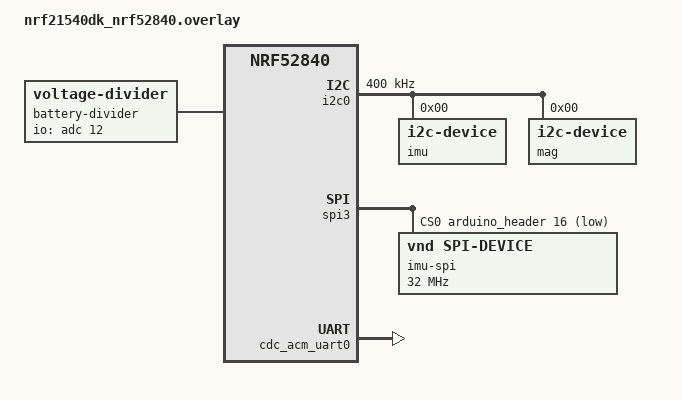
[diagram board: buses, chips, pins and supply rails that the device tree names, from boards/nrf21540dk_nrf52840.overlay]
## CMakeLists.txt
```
#
# Copyright (c) 2023 Nordic Semiconductor
#
# SPDX-License-Identifier: LicenseRef-Nordic-5-Clause
#
cmake_minimum_required(VERSION 3.20.0)

# Configure VERSION from repository branch and tag
find_package(Git)

if(GIT_EXECUTABLE)
  execute_process(
    COMMAND ${GIT_EXECUTABLE} branch --show-current
    WORKING_DIRECTORY ${CMAKE_SOURCE_DIR}
    OUTPUT_VARIABLE GIT_BRANCH
    )
  execute_process(
    COMMAND ${GIT_EXECUTABLE} describe --dirty --tags --long --match [0-9]*.[0-9]*.[0-9]*
    WORKING_DIRECTORY ${CMAKE_SOURCE_DIR}
    OUTPUT_VARIABLE GIT_VERSION
    )
  # Prefer a https URL for display (falls back to ssh/origin.url)
  execute_process(
    COMMAND ${GIT_EXECUTABLE} config --get remote.origin.url
    WORKING_DIRECTORY ${CMAKE_SOURCE_DIR}
    OUTPUT_VARIABLE GIT_REPO_URL_SSH
    )
  execute_process(
    COMMAND ${GIT_EXECUTABLE} config --get remote.origin.https.url
    WORKING_DIRECTORY ${CMAKE_SOURCE_DIR}
    OUTPUT_VARIABLE GIT_REPO_URL_HTTPS
    )
  execute_process(
    COMMAND ${GIT_EXECUTABLE} log -1 --pretty=%an
    WORKING_DIRECTORY ${CMAKE_SOURCE_DIR}
    OUTPUT_VARIABLE GIT_AUTHOR
    )
endif()

if(GIT_BRANCH STREQUAL "")
  set(GIT_BRANCH unknown)
  message(WARNING "Unknown Git Branch")
endif()

if(GIT_VERSION STREQUAL "")
  # No git metadata in this checkout: report the Styria release version.
  set(GIT_VERSION 0.18.0-25)
  message(WARNING "Unknown Tag/Version, using Styria release 0.18.0-25")
endif()

# Choose URL: origin.https.url > origin.url
if(NOT GIT_REPO_URL_HTTPS STREQUAL "")
  set(GIT_REPO_URL ${GIT_REPO_URL_HTTPS})
else()
  set(GIT_REPO_URL ${GIT_REPO_URL_SSH})
endif()

# Normalize GitHub SSH URLs to HTTPS for display in firmware info
if(GIT_REPO_URL MATCHES "^git@github\\.com:(.+)$")
  set(GIT_REPO_URL "https://github.com/${CMAKE_MATCH_1}")
elseif(GIT_REPO_URL MATCHES "^ssh://git@github\\.com/(.+)$")
  set(GIT_REPO_URL "https://github.com/${CMAKE_MATCH_1}")
endif()
string(REGEX REPLACE "\\.git$" "" GIT_REPO_URL "${GIT_REPO_URL}")

if(GIT_REPO_URL STREQUAL "")
  set(GIT_REPO_URL unknown)
  message(WARNING "Unknown Git Repo URL")
endif()

if(GIT_AUTHOR STREQUAL "")
  set(GIT_AUTHOR unknown)
  message(WARNING "Unknown Git Author")
endif()

include(${CMAKE_CURRENT_SOURCE_DIR}/cmake/display_metadata.cmake)
sanitize_display_metadata()
string(STRIP "${GIT_VERSION}" GIT_VERSION)

string(REPLACE "-" ";" GIT_VERSION ${GIT_VERSION})
list(GET GIT_VERSION 0 GIT_RELEASE)
list(GET GIT_VERSION 1 GIT_TWEAK)
string(REPLACE "v" "" GIT_RELEASE ${GIT_RELEASE})
string(REPLACE "." ";" GIT_RELEASE ${GIT_RELEASE})
list(GET GIT_RELEASE 0 GIT_MAJOR)
list(GET GIT_RELEASE 1 GIT_MINOR)
list(GET GIT_RELEASE 2 GIT_PATCH)

configure_file(${CMAKE_SOURCE_DIR}/VERSION_SRC ${CMAKE_SOURCE_DIR}/VERSION @ONLY)

# Pass metadata to C compilation units
add_compile_definitions(
  FW_GIT_BRANCH="${GIT_BRANCH}"
  FW_GIT_REPO_URL="${GIT_REPO_URL}"
  FW_GIT_AUTHOR="${GIT_AUTHOR}"
)

# Zephyr
find_package(Zephyr REQUIRED HINTS $ENV{ZEPHYR_BASE})
project(NONE)

# Reviewed integration builds carry an explicit variant in the generated
# application identity without changing Git tags or the numeric image version.
if(DEFINED ARC8_BUILD_ID)
  if(NOT ARC8_BUILD_ID MATCHES "^[a-zA-Z0-9_-]+$")
    message(FATAL_ERROR "Invalid ARC8_BUILD_ID")
  endif()
  target_compile_definitions(app PRIVATE ARC8_BUILD_ID=${ARC8_BUILD_ID})
endif()

find_package(Python3 QUIET COMPONENTS Interpreter)

if(NOT Python3_Interpreter_FOUND)
  find_program(PYTHON_EXECUTABLE NAMES python3 python REQUIRED)
  set(Python3_EXECUTABLE ${PYTHON_EXECUTABLE})
endif()

set(SOFTDEVICE_HEX_52840 ${CMAKE_SOURCE_DIR}/softdevice/s140_nrf52_7.3.0_softdevice.hex)
set(UF2_FAMILY_ID_52840 0xADA52840)

if(WITH_SOFTDEVICE)
  if(CONFIG_SOC_NRF52840)
    set(sd_softdevice_hex ${SOFTDEVICE_HEX_52840})
    set(sd_uf2_family_id ${UF2_FAMILY_ID_52840})
  else()
    message(FATAL_ERROR "WITH_SOFTDEVICE is currently only supported on nRF52840 targets")
  endif()

  if(DEFINED sd_softdevice_hex)
    if(NOT EXISTS ${sd_softdevice_hex})
      message(FATAL_ERROR "SoftDevice hex not found: ${sd_softdevice_hex}")
    endif()

    set(sd_merged_hex ${CMAKE_BINARY_DIR}/zephyr/zephyr_sd.hex)
    set(sd_merged_uf2 ${CMAKE_BINARY_DIR}/zephyr/zephyr_sd.uf2)

    add_custom_command(
      OUTPUT ${sd_merged_hex} ${sd_merged_uf2}
      COMMAND ${Python3_EXECUTABLE} ${ZEPHYR_BASE}/scripts/build/mergehex.py --overlap=replace -o ${sd_merged_hex} ${sd_softdevice_hex} ${CMAKE_BINARY_DIR}/zephyr/zephyr.hex
      COMMAND ${Python3_EXECUTABLE} ${ZEPHYR_BASE}/scripts/build/uf2conv.py ${sd_merged_hex} -c -f ${sd_uf2_family_id} -o ${sd_merged_uf2}
      DEPENDS ${sd_softdevice_hex} ${CMAKE_BINARY_DIR}/zephyr/zephyr.hex
      VERBATIM
    )

    add_custom_target(sd_merged_uf2 ALL DEPENDS ${sd_merged_hex} ${sd_merged_uf2})
  endif()
endif()

# NORDIC SDK APP START
FILE(GLOB_RECURSE app_sources CONFIGURE_DEPENDS src/*.c)
target_sources(app PRIVATE ${app_sources})

# NORDIC SDK APP END

FILE(GLOB_RECURSE files Fusion/Fusion/*.c)
target_sources(app PRIVATE ${files})

FILE(GLOB_RECURSE files vqf-c/src/*.c)
target_sources(app PRIVATE ${files})

target_include_directories(app PRIVATE src)
target_include_directories(app PRIVATE Fusion/Fusion)
target_include_directories(app PRIVATE vqf-c/src)

# Force recompile for updated build timestamp
add_custom_target(touch_util_h ALL
    COMMAND ${CMAKE_COMMAND} -E touch ${CMAKE_SOURCE_DIR}/src/build_defines.h
)

# The host default and firmware option must select the same state representation.
if(CONFIG_VQF_STABLE_IIR)
  target_compile_definitions(app PRIVATE VQF_STABLE_IIR=1)
else()
  target_compile_definitions(app PRIVATE VQF_STABLE_IIR=0)
endif()
```

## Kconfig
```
#
# Copyright (c) 2023 Nordic Semiconductor
#
# SPDX-License-Identifier: LicenseRef-Nordic-5-Clause
#

config USE_SLIMENRF_CONSOLE
    bool "Use basic console"
    default y
    help
        Use basic console for commands.

choice
	prompt "Battery voltage mapping"
    default BATTERY_USE_REG_LDO_MAPPING

config BATTERY_USE_REG_BUCK_MAPPING
    bool "Use buck regulator mapping (3.7V battery, DCDC)"
    help
      Use a constant power mapping for battery voltage.
      Preffered for systems with a buck regulator.
      Measured at a system voltage of 3.0V.

config BATTERY_USE_REG_LDO_MAPPING
    bool "Use LDO linear regulator mapping (3.7V battery, LDO)"
    help
      Use a constant current mapping for battery voltage.
      Preferred for systems with a linear regulator.

config BATTERY_NO_MAPPING
    bool "Disable battery voltage mapping"
    help
      Always map to 100% battery. Disables battery monitoring.

endchoice

choice
	prompt "Status LED color mapping"
    default LED_TRI_COLOR

config LED_RGB_COLOR
    bool "Use RGB color mapping"
    help
        Use RGB or RG color mapping for LED status if available.

config LED_TRI_COLOR
    bool "Use default color mapping"
    help
        Use the default color mapping for LED status.

endchoice

menu "Status LED default status color"
    depends on LED_RGB_COLOR

config LED_DEFAULT_COLOR_R
    int "Red value"
    range 0 10000
    default 4000
    depends on LED_RGB_COLOR
    help
        Red color for default status.
        Valid range is 0 to 10000.

config LED_DEFAULT_COLOR_G
    int "Green value"
    range 0 10000
    default 6000
    depends on LED_RGB_COLOR
    help
        Green color for default status.
        Valid range is 0 to 10000.

config LED_DEFAULT_COLOR_B
    int "Blue value"
    range 0 10000
    default 0
    depends on LED_RGB_COLOR
    help
        Blue color for default status.
        Valid range is 0 to 10000.

endmenu

config USER_EXTRA_ACTIONS
    bool "Multiple press actions"
    help
        Allow user to use multiple presses to calibrate, pair, or enter DFU.
        By default, pairing is available when holding down sw0 for 5 seconds.
        By default, DFU is available when holding down sw0 and plugging in a USB cable.

config IGNORE_RESET
    bool "Ignore reset"
    default y
    help
        If sw0 is available, don't perform any extra actions on reset.

config USER_SHUTDOWN
    bool "User shutdown support"
    default y
    help
        Allow user to use reset or sw0 to shutdown.

config IGNORE_CHARGE_WAKE_ON_VBUS
    bool "Ignore charge wake on VBUS"
    default n
    depends on USER_SHUTDOWN
    help
        When VBUS is present, do not configure charge status pins as wake
        sources during system shutdown. This keeps charge state transitions
        from waking the device while USB power is already connected.

config USE_IMU_WAKE_UP
    bool "IMU wake up support"
    default n
    help
        Use IMU wake up state if IMU wake up is present.

config DELAY_SLEEP_ON_STATUS
    bool "Delay IMU wake up mode on status flags"
    default y
    depends on USE_IMU_WAKE_UP
    help
        Delay IMU wake up state if there is an active status flag or in pairing mode.

config WOM_USE_DCDC
    bool "Use DCDC in IMU wake up mode"
    depends on USE_IMU_WAKE_UP
    help
        Use DCDC instead of LDO in IMU wake up state if it is more efficient.

config CONNECTION_TIMEOUT_DELAY
    int "Connection timeout delay (ms)"
    default 300000
    depends on USER_SHUTDOWN
    help
        Connection timeout duration when receiver is not detected.

menu "Sensor power saving"

config SENSOR_LP_TIMEOUT
    int "Sensor low power delay (ms)"
    default 500
    range 0 2147483647
    help
        Low power timeout during no motion. Set to 0 to keep the normal
        sensor sampling mode during prolonged stillness.

config SENSOR_USE_LOW_POWER_2
    bool "Use additional low power modes"
    help
        Use a higher latency sensor mode during no motion.

config USE_IMU_TIMEOUT
    bool "Use IMU wake up state"
    default y
    depends on USE_IMU_WAKE_UP
    help
        Use IMU wake up state during no motion.

config IMU_TIMEOUT_RAMP_MIN
    int "Sensor timeout minimum delay (ms)"
    default 5000
    depends on USE_IMU_TIMEOUT || SENSOR_USE_LOW_POWER_2
    help
        Minimum timeout during no motion. Initial period on wake up.

config IMU_TIMEOUT_RAMP_MAX
    int "Sensor timeout maximum delay (ms)"
    default 15000
    depends on USE_IMU_TIMEOUT || SENSOR_USE_LOW_POWER_2
    help
        Maximum timeout during no motion.

config USE_ACTIVE_TIMEOUT
    bool "Use activity timeout"
    default y
    depends on USE_IMU_WAKE_UP || USER_SHUTDOWN
    help
        Delay IMU wake up state or user shutdown during activity.

choice
    prompt "Activity timeout mode"
    default SLEEP_ON_ACTIVE_TIMEOUT
    depends on USE_ACTIVE_TIMEOUT

config SLEEP_ON_ACTIVE_TIMEOUT
    bool "IMU wake up"
    depends on USE_IMU_WAKE_UP
    help
        Use IMU wake up state when activity timeout elapses.

config SHUTDOWN_ON_ACTIVE_TIMEOUT
    bool "User shutdown"
    depends on USER_SHUTDOWN
    help
        Use user shutdown when activity timeout elapses.

endchoice

config ACTIVE_TIMEOUT_THRESHOLD
    int "Activity timeout threshold (ms)"
    default 15000
    depends on USE_ACTIVE_TIMEOUT
    help
        Trigger activity timeout after a certain threshold of activity.

config ACTIVE_TIMEOUT_DELAY
    int "Activity timeout delay (ms)"
    default 1800000
    depends on USE_ACTIVE_TIMEOUT
    help
        Activity timeout duration when triggered.

config DISABLE_SENSOR_GPIOS_ON_SHUTDOWN
    bool "Disable Sensor GPIOs on shutdown"
    default y
    help
        Disable all sensor related GPIOs when system shutdown.
        May reduce power consumption.

endmenu

config SENSOR_ACCEL_ODR
    int "Accelerometer output data rate (Hz)"
    default 100
    help
        Requested accelerometer output data rate. Actual rate will be raised to the nearest supported rate.
        A higher rate will increase the time to read and process sensor data.

config SENSOR_GYRO_ODR
    int "Gyrometer output data rate (Hz)"
    default 200
    help
        Requested gyrometer output data rate. Actual rate will be raised to the nearest supported rate.
        A higher rate will increase the time to read and process sensor data.
        A lower rate is recommended for IMUs with poor gyrometer rate noise density. (Ex. BMI270, LSM6DS3TR-C)

config SENSOR_GYRO_OVERSAMPLING
    int "Gyroscope oversampling factor"
    default 1
    range 1 16
    help
        Number of gyroscope samples to average before fusion.
        Set to 1 to disable oversampling.
        For example, set SENSOR_GYRO_ODR=1600 and SENSOR_GYRO_OVERSAMPLING=4
        to achieve effective 400Hz with noise reduction from 4x oversampling.
        The effective gyro rate for fusion will be ODR / oversampling factor.

config SENSOR_ACCEL_OVERSAMPLING
    int "Accelerometer oversampling factor"
    default 1
    range 1 16
    help
        Number of accelerometer samples to average before fusion.
        Set to 1 to disable oversampling.
        For example, set SENSOR_ACCEL_ODR=1000 and SENSOR_ACCEL_OVERSAMPLING=10
        to achieve effective 100Hz with noise reduction from 10x oversampling.
        The effective accel rate for fusion will be ODR / oversampling factor.

config SENSOR_ACCEL_FS
    int "Accelerometer full scale (g)"
    default 16
    help
        Requested accelerometer full scale. Actual scale will be raised to the nearest supported scale.
        A lower scale may improve noise performance, but is more likely to saturate.

config SENSOR_GYRO_FS
    int "Gyrometer full scale (dps)"
    default 4000
    help
        Requested gyrometer full scale. Actual scale will be raised to the nearest supported scale.
        A lower scale may improve noise performance, but is more likely to saturate.

config SENSOR_MAG_ODR
    int "Magnetometer ODR (Hz)"
    default 200
    help
        Requested magnetometer output data rate in Hz.
        Common values: 100, 200. Higher rates may not be supported by all sensors.

config SENSOR_MAG_FIXED_ODR
    bool "Use fixed magnetometer ODR"
    default y
    help
        If enabled, use a fixed magnetometer ODR instead of dynamic adjustment.
        This ensures VQF fusion receives consistent timing information.
        When disabled, ODR is dynamically adjusted based on gyroscope speed.

choice
	prompt "Sensor fusion"
    default SENSOR_USE_VQF
    help
        Select the sensor fusion method.

config SENSOR_USE_XIOFUSION
    bool "Use x-io Technologies Fusion"
    help
        Use x-io Technologies Fusion for sensor fusion.
        Based on Madgwick filter.

config SENSOR_USE_VQF
    bool "Use VQF"
    help
        Use VQF for sensor fusion.
        Based on Kalman filter.

endchoice

config VQF_STABLE_IIR
    bool "VQF stable Butterworth realization"
    default y
    depends on SENSOR_USE_VQF
    help
        Use integrator states to avoid single-precision DF2T DC error.
        Retained snapshots are versioned and incompatible with legacy filters.
        Disable only for a controlled comparison; adaptive tau stays off.

config VQF_ADAPTIVE_TAU_ACC
    bool "VQF adaptive tauAcc (experimental)"
    default n
    depends on SENSOR_USE_VQF
    help
        Enable adaptive tauAcc adjustment based on motion intensity.
        Uses a three-regime strategy (rest / gentle / aggressive) with
        smoothed transitions to avoid Butterworth LP filter transients.
        This feature is experimental and may affect heading stability.

config VQF_SOFT_MBE_GATE
    bool "VQF soft motion bias estimation gate (experimental)"
    default n
    depends on SENSOR_USE_VQF
    help
        Enable quasi-rest detection that reduces VQF bias process noise during
        long low-energy non-rest periods. This keeps motion bias estimation
        enabled, but makes bias changes much slower in breathing
        motion where motion bias estimation can otherwise overcompensate.
        This feature is experimental and may affect heading stability.

config SENSOR_USE_6_SIDE_CALIBRATION
    bool "Use 6-side calibration"
    default y
    depends on USE_SLIMENRF_CONSOLE
    help
        Use 6-side calibration for accelerometer.
        Calibration can be completed through the basic console.

config SENSOR_USE_SENS_CALIBRATION
    bool "Use gyro sensitivity calibration"
    default y
    depends on USE_SLIMENRF_CONSOLE
    help
        Use sensitivity calibration for gyroscope.
        Calibration can be completed by rotating the tracker specified number of times around all axis.
        Note any resulting yaw drift in degrees and enter these three observed values in the basic console.

config SENSOR_SENS_REV
    int "Number of rotations (rev)"
    default 2
    depends on SENSOR_USE_SENS_CALIBRATION
    help
       Number of rotations used in calculating sensitivity calibration.

config SENSOR_USE_TCAL
    bool "Enable temperature calibration (T-Cal)"
    default y
    help
        Enable temperature calibration (T-Cal) support.
        This controls whether the firmware collects/uses temperature-related
        calibration data to compensate gyroscope bias drift.

menu "Temperature Calibration Settings"
depends on SENSOR_USE_TCAL

config SENSOR_POLY_DEGREE
    int "Polynomial degree"
    default 3
    help
        The degree of the polynomial to fit (e.g., 3 for a cubic curve).

config SENSOR_POLY_TEMP_MIN
    int "Calibration minimum temperature (C)"
    default 10

config SENSOR_POLY_TEMP_MAX
    int "Calibration maximum temperature (C)"
    default 45

config SENSOR_POLY_STEPS_PER_DEGREE
    int "Calibration steps per degree C"
    default 2
    help
        Enter the number of calibration points to take per degree Celsius.
        For 0.2 C steps, enter 5.
        For 0.5 C steps, enter 2.
        For 1.0 C steps, enter 1.

config SENSOR_USE_BOOT_CALIBRATION
    bool "Enable automatic boot calibration"
    default n
    depends on SENSOR_USE_TCAL
    help
        Automatically perform boot calibration after device startup.
        When enabled, the device will measure gyroscope bias at boot time
        and calculate D_offset correction based on the temperature calibration
        curve. This helps compensate for run-to-run bias drift.
        Boot calibration occurs within 15-50 seconds after boot when the
        device is stationary and requires at least 4 temperature calibration
        points to be effective.

endmenu

config RADIO_TX_POWER
    int "Radio output power (dBm)"
    default 8
    help
        Radio output power level.
        A lower value may reduce power consumption.

config RADIO_RF_CHANNEL
    int "Radio RF channel"
    default 2
    help
        Radio RF channel (0-100).
        Must match the receiver channel.

config RADIO_RETRANSMIT_DELAY
    int "Radio retransmit delay (µs)"
    default 600
    help
        Radio retransmit delay.

config CONNECTION_ENABLE_ACK
    bool "Enable connection ACK"
    default y
    help
        Enable connection ACK for reliable data transfer.

config CONNECTION_OVER_HID
    bool "Use HID for data output"
    default n
    help
        Use HID if available.
        Otherwise, use ESB only.

config CLOCK_USE_LFXO
    bool "Use external low-frequency crystal oscillator (LFXO)"
    default y
    help
        Enable external 32.768 kHz crystal oscillator for LF clock.
        This provides better TDMA timing precision.

        Disable this option if your board does not have an external
        LFXO crystal. Using LFXO without a crystal will cause the
        system to hang or IMU detection to fail.

config CONNECTION_TDMA
    bool "Enable TDMA transmit scheduling"
    default n if !CLOCK_USE_LFXO
    default y if CLOCK_USE_LFXO
    help
        Enable Time Division Multiple Access scheduling for ESB radio.
        When enabled, each tracker transmits only within its assigned
        time slot to avoid collisions with other trackers.
        Requires server time synchronization via PING/PONG.
        Can also be toggled at runtime via console command.

config CLOCK_USE_LF_SYNTH
    bool "Use LF synthesizer for low-frequency clock"
    default y if CONNECTION_TDMA && !CLOCK_USE_LFXO
    default n
    help
        Use the LF synthesizer (derived from HFXO) for the low-frequency
        clock instead of LFXO or LFRC.

config CLOCK_CONTROL_NRF_K32SRC_RC_CALIBRATION
    bool "Enable RC oscillator calibration for K32SRC"
    default y if CLOCK_USE_LF_SYNTH && CONNECTION_TDMA
    default n

source "Kconfig.zephyr"

menu "ARC8-B ESB OTA (experimental, staging only by default)"
config ARC8_ESB_OTA
    bool "Enable ARC8-B 48-byte ESB MCUboot slot1 transfer"
    depends on BOOTLOADER_MCUBOOT && FLASH_MAP && FLASH
    depends on MCUBOOT_IMG_MANAGER && MCUBOOT_BOOTLOADER_MODE_SWAP_USING_OFFSET
    default n
    help
      Receive only v2 MCUboot signed images into slot1. Never write slot0 or NVS.

config ARC8_ESB_OTA_ACTIVATE
    bool "DANGEROUS: permit MCUboot test-swap activation from ESB"
    depends on ARC8_ESB_OTA
    default n
    help
      Enable only after real Styria boot chain and rollback have been verified.
endmenu

# ARC8 Joint10 experimental tracker-side capture hook.
# Disabled by default: no ESB summary TX, no NVS writes, no OTA change.
config ARC8_JOINT10_TRACE
    bool "ARC8 Joint10: print command RX and delayed execution evidence"
    depends on ARC8_JOINT10_EXPERIMENTAL
    default n
    help
      Diagnostic: display 0x34/0x35 reception from ordinary ESB thread,
      and start/stop result. No logging from ESB event callback/IRQ.

config ARC8_JOINT10_EXPERIMENTAL
    bool "ARC8 Joint10: experimental 400-to-50 Hz local summaries"
    default n
    help
      Experimental remote 0x34/0x35 receiver command handling and local
      raw gyro/accel 8-sample windows. Not ready for production or wireless
      batch recording; requires a 400 Hz gyro configuration.

config ARC8_F04_SUMMARY
    bool "F04 v1 raw 50 Hz wireless summaries"
    depends on ARC8_JOINT10_EXPERIMENTAL && ARC8_ESB_OTA
    default n
    help
      Replace the local-only Joint10 hook with real-period windows,
      bounded ESB queue and CRC-protected 48-byte type 0x15 packets.
      Requires hardware-backed RNG. No calibration or NVS changes.

# F-06C3: diagnostic export, explicitly disabled in all default builds.
config ARC8P1_READONLY_EXPORT_DRAFT
    bool "EXPERIMENTAL read-only partial archive and raw TCal dump"
    default n
    help
      Add explicit worker-only 'export partial scale/earth/gsens' commands.
      The feature reads existing RAM archive records and emits PARTIAL
      diagnostic text only. 'export tcal' emits the distinct 840-byte raw
      TCal object under ARC8T1, never as an ARC8P1 motion record. This option
      does not change ARC8X1, any capture gates, NVS layout or solver.
      Experimental diagnostic interface; not a calibration installation.
```

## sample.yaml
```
tests:
  common:
    platform_allow:
      - nrf21540dk/nrf52840
      - nrf52840dk/nrf52840
      - nrf52840dongle/nrf52840
      - nrf52dk/nrf52832
      - nrf5340dk/nrf5340/cpuapp
      - nrf5340dk/nrf5340/cpunet
      - nrf54l15dk/nrf54l15/cpuapp
      - xiao_ble/nrf52840
      - xiao_ble/nrf52840/sense
    sysbuild: true
```

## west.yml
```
manifest:
  version: "1.2"
  projects:

    # nRF-Connect SDK
    - name: sdk-nrf
      path: nrf
      url: https://github.com/jitingcn/sdk-nrf.git
      revision: b15546351c4a6083002cab6f029ef72138b44521
      import: true
```

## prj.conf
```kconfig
#CONFIG_NCS_SAMPLES_DEFAULTS
CONFIG_ASSERT=y
CONFIG_ASSERT_NO_COND_INFO=y
CONFIG_ASSERT_NO_MSG_INFO=y
CONFIG_RESET_ON_FATAL_ERROR=y

CONFIG_NCS_APPLICATION_BOOT_BANNER_STRING="SlimeVR-Tracker-nRF"
#CONFIG_NCS_BOOT_BANNER=n
CONFIG_BOOT_BANNER=n

CONFIG_ESB=y
#need to enable for nRF54L
#CONFIG_NRFX_DPPI10=y

CONFIG_ADC=y
CONFIG_ADC_NRFX_SAADC=y
CONFIG_FPU=y

# CMSIS-DSP Configuration for VQF optimization
CONFIG_CMSIS_DSP=y
CONFIG_CMSIS_DSP_FASTMATH=y
CONFIG_CMSIS_DSP_BASICMATH=y
CONFIG_CMSIS_DSP_MATRIX=y
CONFIG_CMSIS_DSP_QUATERNIONMATH=y
CONFIG_CMSIS_DSP_SUPPORT=y
CONFIG_CMSIS_DSP_CONTROLLER=y
CONFIG_DSP=y

CONFIG_I2C=y
CONFIG_SPI=y
CONFIG_PINCTRL=y

CONFIG_NVS=y
CONFIG_NVS_LOOKUP_CACHE=y
CONFIG_NVS_INIT_BAD_MEMORY_REGION=y

CONFIG_POWEROFF=y
CONFIG_REBOOT=y

CONFIG_FLASH=y
CONFIG_FLASH_PAGE_LAYOUT=y
CONFIG_FLASH_MAP=y

CONFIG_SETTINGS=y
CONFIG_SETTINGS_RUNTIME=y
CONFIG_SETTINGS_NONE=y

CONFIG_MPU_ALLOW_FLASH_WRITE=y

CONFIG_RETAINED_MEM=y

CONFIG_USE_SEGGER_RTT=y
CONFIG_LOG=y
#CONFIG_PRINTK=y
CONFIG_LOG_MODE_DEFERRED=y
CONFIG_LOG_SPEED=y
CONFIG_LOG_BACKEND_RTT=y
CONFIG_CBPRINTF_FP_SUPPORT=y
CONFIG_ADC_LOG_LEVEL_OFF=y
CONFIG_LOG_FUNC_NAME_PREFIX_ERR=y
CONFIG_LOG_BUFFER_SIZE=4096
CONFIG_LOG_BACKEND_UART_AUTOSTART=n
CONFIG_LOG_PROCESS_THREAD_SLEEP_MS=25
CONFIG_LOG_PROCESS_THREAD_STACK_SIZE=1024

CONFIG_PWM=y
CONFIG_GPIO=y

CONFIG_CRC=y

CONFIG_NEWLIB_LIBC=y
# CONFIG_NRFX_TIMER1=y

#speed up boot? (use internal rc oscillator)
CONFIG_CLOCK_CONTROL_NRF_K32SRC_RC=y
CONFIG_CLOCK_CONTROL_NRF_K32SRC_20PPM=y

# dont need it
CONFIG_CRYPTO=n

# set timeout for 25ms, sufficient for ~1000 bytes
CONFIG_I2C_NRFX_TRANSFER_TIMEOUT=25

CONFIG_USB_DEVICE_HID=y
CONFIG_USB_DEVICE_VID=0x1209
CONFIG_USB_DEVICE_PID=0x7692
CONFIG_USB_HID_BOOT_PROTOCOL=y
CONFIG_USB_DEVICE_INITIALIZE_AT_BOOT=n
CONFIG_USB_CDC_ACM=y
CONFIG_UART_INTERRUPT_DRIVEN=y
CONFIG_USB_WORKQUEUE_STACK_SIZE=1024

CONFIG_SERIAL=y
CONFIG_CONSOLE=y
CONFIG_RTT_CONSOLE=y
CONFIG_UART_CONSOLE=y
CONFIG_UART_LINE_CTRL=y

# Increase USB CDC ACM ring buffer size
CONFIG_USB_CDC_ACM_RINGBUF_SIZE=4096

CONFIG_LOG=y
CONFIG_USB_DRIVER_LOG_LEVEL_ERR=y
CONFIG_USB_DEVICE_LOG_LEVEL_ERR=y
CONFIG_USB_CDC_ACM_LOG_LEVEL_OFF=y

CONFIG_LOG_BACKEND_UART=y

CONFIG_CONSOLE_SUBSYS=y
CONFIG_CONSOLE_GETLINE=y

CONFIG_NVS_LOG_LEVEL_WRN=y
CONFIG_USB_HID_LOG_LEVEL_WRN=y

CONFIG_USB_DEVICE_SOF=y
CONFIG_USB_HID_REPORTS=256

#CONFIG_USB_HID_POLL_INTERVAL_MS=1
CONFIG_USB_HID_POLL_INTERVAL_MS=0
CONFIG_HID_INTERRUPT_EP_MPS=64
#CONFIG_ENABLE_HID_INT_OUT_EP=y

CONFIG_SYSTEM_WORKQUEUE_STACK_SIZE=512
CONFIG_MAIN_STACK_SIZE=2048
#crashing on nrf54l at 512

CONFIG_THREAD_NAME=y

# TODO: because of icm426, this will break things and needs to be raised to at least 3k
CONFIG_HEAP_MEM_POOL_SIZE=4096
CONFIG_ISR_STACK_SIZE=1024

CONFIG_PM_DEVICE=y


# Keep continuous tracking during prolonged stillness (including overnight wear).
CONFIG_USE_ACTIVE_TIMEOUT=n

# 100ms switch delay will be obvious to users, so we choose not to use it by default,
# but it can be enabled for testing or specific use cases
CONFIG_SENSOR_USE_LOW_POWER_2=n

# control low power mode
# due to current mag reading is process in sensor loop,
# low power mode will cause mag reading isn't at target odr,
# so currently it should be disabled by default
CONFIG_USE_IMU_TIMEOUT=n
# Zero disables the delayed sensor low-power transition, even after hours at rest.
CONFIG_SENSOR_LP_TIMEOUT=0

# Retain explicit wake-on-motion support; automatic inactivity sleep is disabled.
CONFIG_USE_IMU_WAKE_UP=y

# or 6 hours timeout
# CONFIG_USE_IMU_WAKE_UP=n
# CONFIG_ACTIVE_TIMEOUT_DELAY=21600000

CONFIG_USER_EXTRA_ACTIONS=y
CONFIG_DISABLE_SENSOR_GPIOS_ON_SHUTDOWN=y

CONFIG_ESB_MAX_PAYLOAD_LENGTH=48
CONFIG_ESB_TX_FIFO_SIZE=8
CONFIG_ESB_RX_FIFO_SIZE=8
CONFIG_RADIO_RF_CHANNEL=84
CONFIG_RADIO_RETRANSMIT_DELAY=310
CONFIG_CONNECTION_ENABLE_ACK=n
CONFIG_RADIO_TX_POWER=8
# 3 minutes timeout after ping continuous failed
CONFIG_CONNECTION_TIMEOUT_DELAY=180000

CONFIG_SENSOR_USE_6_SIDE_CALIBRATION=y
CONFIG_SENSOR_USE_SENS_CALIBRATION=y
CONFIG_SENSOR_SENS_REV=5

CONFIG_SENSOR_USE_TCAL=y
CONFIG_SENSOR_POLY_TEMP_MIN=15
# 140 bins, unchanged retained/NVS point-array size; covers warm body-worn use.
CONFIG_SENSOR_POLY_TEMP_MAX=43
CONFIG_SENSOR_POLY_STEPS_PER_DEGREE=5

# Boot calibration is disabled by default
# CONFIG_SENSOR_USE_BOOT_CALIBRATION=y

# Range statistics tracking (disabled by default to optimize performance)
# CONFIG_SENSOR_RANGE_STATS=y

# CONFIG_SENSOR_GYRO_ODR=400
# oversampling and odr settings
# icm45 800, dsv 960
CONFIG_SENSOR_GYRO_ODR=400
# icm45 ~200, dsv ~240
# CONFIG_SENSOR_GYRO_OVERSAMPLING=4
# icm45 800, dsv 960
# CONFIG_SENSOR_ACCEL_ODR=800
# icm45 ~100, dsv ~120
# CONFIG_SENSOR_ACCEL_OVERSAMPLING=8
CONFIG_SENSOR_MAG_ODR=100
CONFIG_SENSOR_MAG_FIXED_ODR=y

# VQF experimental features
# CONFIG_VQF_ADAPTIVE_TAU_ACC=y
# CONFIG_VQF_SOFT_MBE_GATE=y

# Watchdog Configuration
CONFIG_WATCHDOG=y
CONFIG_WDT_NRFX=y
CONFIG_TASK_WDT=y
CONFIG_TASK_WDT_CHANNELS=8
CONFIG_TASK_WDT_HW_FALLBACK=y
CONFIG_TASK_WDT_HW_FALLBACK_DELAY=5000

# enable tdma on board which don't have lfxo, it can use lf clock synthesized by hf clock,
# but it will increase a lot of power consumption, so if you want to use it, you can enable below config,
# or define it in board level Kconfig file.

# CONFIG_CLOCK_USE_LFXO=n
# CONFIG_CONNECTION_TDMA=y
```

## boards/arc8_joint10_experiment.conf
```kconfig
# Explicit opt-in only for rescue-capable single Tracker experiments.
CONFIG_ARC8_JOINT10_EXPERIMENTAL=y
CONFIG_SENSOR_GYRO_ODR=400
```

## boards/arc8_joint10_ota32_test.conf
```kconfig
# ARC8 Batch08 isolated OTA32 + Joint10 acceptance image ONLY.
# Apply alongside arc8/app_mcuboot.conf and site-specific signing config.
# Do NOT append this to the production prj.conf or to a fleet build.
CONFIG_ARC8_JOINT10_EXPERIMENTAL=y
CONFIG_SENSOR_GYRO_ODR=400
# Retain the ability to perform *future* signed wireless test upgrades.
# This does NOT auto-confirm the currently running image.
CONFIG_ARC8_ESB_OTA_ACTIVATE=y
```

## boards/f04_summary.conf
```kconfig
CONFIG_ARC8_F04_SUMMARY=y
CONFIG_ENTROPY_GENERATOR=y
CONFIG_XOSHIRO_RANDOM_GENERATOR=y
```

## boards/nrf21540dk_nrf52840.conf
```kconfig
CONFIG_USB_DEVICE_STACK=y
CONFIG_USB_DEVICE_MANUFACTURER="Nordic Semiconductor"
CONFIG_USB_DEVICE_PRODUCT="SlimeNRF Tracker nRF21540 DK"
```

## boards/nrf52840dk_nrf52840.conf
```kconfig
CONFIG_USB_DEVICE_STACK=y
CONFIG_USB_DEVICE_MANUFACTURER="Nordic Semiconductor"
CONFIG_USB_DEVICE_PRODUCT="SlimeNRF Tracker nRF52840 DK"
```

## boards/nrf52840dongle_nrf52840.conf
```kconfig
CONFIG_USB_DEVICE_STACK=y
CONFIG_USB_DEVICE_MANUFACTURER="Nordic Semiconductor"
CONFIG_USB_DEVICE_PRODUCT="SlimeNRF Tracker nRF52840 Dongle"

CONFIG_LED_RGB_COLOR=y
```

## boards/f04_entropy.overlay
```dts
/ { chosen { zephyr,entropy = &rng; }; };
&rng { status = "okay"; };
```

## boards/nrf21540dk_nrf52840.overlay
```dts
&pwm0_default {
	group1 {
		psels = <NRF_PSEL(PWM_OUT0, 0, 13)>,
			<NRF_PSEL(PWM_OUT1, 0, 14)>,
			<NRF_PSEL(PWM_OUT2, 0, 15)>;
		nordic,drive-mode = <NRF_DRIVE_D0S1>;
		nordic,invert;
	};
};

&pwm0_sleep {
	group1 {
		psels = <NRF_PSEL(PWM_OUT0, 0, 13)>,
			<NRF_PSEL(PWM_OUT1, 0, 14)>,
			<NRF_PSEL(PWM_OUT2, 0, 15)>;
	};
};

&i2c0_default {
	group1 {
		bias-disable;
	};
};

&i2c0_sleep {
	group1 {
		bias-disable;
	};
};

/ {
	chosen {
		zephyr,console = &cdc_acm_uart0;
		zephyr,shell-uart = &cdc_acm_uart0;
	};

	pwmleds {
		pwm_led1: pwm_led_1 {
			pwms = <&pwm0 1 PWM_MSEC(20) PWM_POLARITY_INVERTED>;
		};
		pwm_led2: pwm_led_2 {
			pwms = <&pwm0 2 PWM_MSEC(20) PWM_POLARITY_INVERTED>;
		};
	};

	battery-divider {
		compatible = "voltage-divider";
		status = "okay";
		io-channels = <&adc 12>; // Measure VDDHDIV5
		output-ohms = <1>;
		full-ohms = <2>;
	};

	aliases {
		pwm-led1 = &pwm_led1;
		pwm-led2 = &pwm_led2;
	};
};

&i2c0 {
	compatible = "nordic,nrf-twim";
	zephyr,concat-buf-size = <1023>;
	zephyr,flash-buf-max-size = <1023>;
	clock-frequency = <I2C_BITRATE_FAST>;

	imu: imu@0 { // any address out of range (00, 7f, etc. will search all addresses and stored address first if available, specify an address here to search first otherwise
		compatible = "i2c-device";
		label = "imu";
		reg = <0>;
	};

	mag: mag@0 {
		compatible = "i2c-device";
		label = "mag";
		reg = <0>;
	};

};

&spi3 {
	cs-gpios = <&arduino_header 16 GPIO_ACTIVE_LOW>; /* D10 */
	imu_spi: imu_spi@0 {
		compatible = "vnd,spi-device";
		spi-max-frequency = <DT_FREQ_M(32)>;
		label = "imu-spi";
		reg = <0>;
	};
};

&usbd {
	cdc_acm_uart0: cdc_acm_uart0 {
		compatible = "zephyr,cdc-acm-uart";
	};
};
```

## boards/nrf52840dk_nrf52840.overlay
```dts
&pwm0_default {
	group1 {
		psels = <NRF_PSEL(PWM_OUT0, 0, 13)>,
			<NRF_PSEL(PWM_OUT1, 0, 14)>,
			<NRF_PSEL(PWM_OUT2, 0, 15)>;
		nordic,drive-mode = <NRF_DRIVE_D0S1>;
		nordic,invert;
	};
};

&pwm0_sleep {
	group1 {
		psels = <NRF_PSEL(PWM_OUT0, 0, 13)>,
			<NRF_PSEL(PWM_OUT1, 0, 14)>,
			<NRF_PSEL(PWM_OUT2, 0, 15)>;
	};
};

&i2c0_default {
	group1 {
		bias-disable;
	};
};

&i2c0_sleep {
	group1 {
		bias-disable;
	};
};

/ {
	chosen {
		zephyr,console = &cdc_acm_uart0;
		zephyr,shell-uart = &cdc_acm_uart0;
	};

	pwmleds {
		pwm_led1: pwm_led_1 {
			pwms = <&pwm0 1 PWM_MSEC(20) PWM_POLARITY_INVERTED>;
		};
		pwm_led2: pwm_led_2 {
			pwms = <&pwm0 2 PWM_MSEC(20) PWM_POLARITY_INVERTED>;
		};
	};

	battery-divider {
		compatible = "voltage-divider";
		status = "okay";
		io-channels = <&adc 12>; // Measure VDDHDIV5
		output-ohms = <1>;
		full-ohms = <2>;
	};

	aliases {
		pwm-led1 = &pwm_led1;
		pwm-led2 = &pwm_led2;
	};
};

&i2c0 {
	compatible = "nordic,nrf-twim";
	zephyr,concat-buf-size = <1023>;
	zephyr,flash-buf-max-size = <1023>;
	clock-frequency = <I2C_BITRATE_FAST>;

	imu: imu@0 { // any address out of range (00, 7f, etc. will search all addresses and stored address first if available, specify an address here to search first otherwise
		compatible = "i2c-device";
		label = "imu";
		reg = <0>;
	};

	mag: mag@0 {
		compatible = "i2c-device";
		label = "mag";
		reg = <0>;
	};

};

&spi3 {
	imu_spi: imu_spi@0 {
		compatible = "vnd,spi-device";
		spi-max-frequency = <DT_FREQ_M(32)>;
		label = "imu-spi";
		reg = <0>;
	};
};

&usbd {
	cdc_acm_uart0: cdc_acm_uart0 {
		compatible = "zephyr,cdc-acm-uart";
	};
};
```

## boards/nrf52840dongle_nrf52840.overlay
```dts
&red_pwm_led {
	pwms = <&pwm0 0 PWM_MSEC(1) PWM_POLARITY_INVERTED>;
};
&green_pwm_led {
	pwms = <&pwm0 1 PWM_MSEC(1) PWM_POLARITY_INVERTED>;
};
&blue_pwm_led {
	pwms = <&pwm0 2 PWM_MSEC(1) PWM_POLARITY_INVERTED>;
};

/ {
	battery-divider {
		compatible = "voltage-divider";
		status = "okay";
		io-channels = <&adc 12>; // Measure VDDHDIV5
		output-ohms = <1>;
		full-ohms = <2>;
	};
};

&i2c0 {
	compatible = "nordic,nrf-twim";
	zephyr,concat-buf-size = <1023>;
	zephyr,flash-buf-max-size = <1023>;
	clock-frequency = <I2C_BITRATE_FAST>;

	imu: imu@0 { // any address out of range (00, 7f, etc. will search all addresses and stored address first if available, specify an address here to search first otherwise
		compatible = "i2c-device";
		label = "imu";
		reg = <0>;
	};

	mag: mag@0 {
		compatible = "i2c-device";
		label = "mag";
		reg = <0>;
	};

};

arduino_spi: &spi3 {
	imu_spi: imu_spi@0 {
		compatible = "vnd,spi-device";
		spi-max-frequency = <DT_FREQ_M(32)>;
		label = "imu-spi";
		reg = <0>;
	};
};
```

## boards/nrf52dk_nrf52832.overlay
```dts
&pwm0_default {
	group1 {
		psels = <NRF_PSEL(PWM_OUT0, 0, 13)>,
			<NRF_PSEL(PWM_OUT1, 0, 14)>,
			<NRF_PSEL(PWM_OUT2, 0, 15)>;
		nordic,drive-mode = <NRF_DRIVE_D0S1>;
		nordic,invert;
	};
};

&pwm0_sleep {
	group1 {
		psels = <NRF_PSEL(PWM_OUT0, 0, 13)>,
			<NRF_PSEL(PWM_OUT1, 0, 14)>,
			<NRF_PSEL(PWM_OUT2, 0, 15)>;
	};
};

/ {
	pwmleds {
		pwm_led1: pwm_led_1 {
			pwms = <&pwm0 1 PWM_MSEC(20) PWM_POLARITY_INVERTED>;
		};
		pwm_led2: pwm_led_2 {
			pwms = <&pwm0 2 PWM_MSEC(20) PWM_POLARITY_INVERTED>;
		};
	};

	battery-divider {
		compatible = "voltage-divider";
		status = "okay";
		io-channels = <&adc 12>; // Measure VDDHDIV5
		output-ohms = <1>;
		full-ohms = <2>;
	};

	aliases {
		pwm-led1 = &pwm_led1;
		pwm-led2 = &pwm_led2;
	};
};

&i2c0 {
	compatible = "nordic,nrf-twim";
	zephyr,concat-buf-size = <255>; // MAXCNT
	zephyr,flash-buf-max-size = <255>;
	clock-frequency = <I2C_BITRATE_FAST>;

	imu: imu@0 { // any address out of range (00, 7f, etc. will search all addresses and stored address first if available, specify an address here to search first otherwise
		compatible = "i2c-device";
		label = "imu";
		reg = <0>;
	};

	mag: mag@0 {
		compatible = "i2c-device";
		label = "mag";
		reg = <0>;
	};

};

arduino_spi: &spi2 {
	imu_spi: imu_spi@0 {
		compatible = "vnd,spi-device";
		spi-max-frequency = <DT_FREQ_M(8)>;
		label = "imu-spi";
		reg = <0>;
	};
};
```

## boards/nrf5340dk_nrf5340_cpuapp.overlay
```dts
&pwm0_default {
	group1 {
		psels = <NRF_PSEL(PWM_OUT0, 0, 13)>,
			<NRF_PSEL(PWM_OUT1, 0, 14)>,
			<NRF_PSEL(PWM_OUT2, 0, 15)>;
		nordic,drive-mode = <NRF_DRIVE_D0S1>;
		nordic,invert;
	};
};

&pwm0_sleep {
	group1 {
		psels = <NRF_PSEL(PWM_OUT0, 0, 13)>,
			<NRF_PSEL(PWM_OUT1, 0, 14)>,
			<NRF_PSEL(PWM_OUT2, 0, 15)>;
	};
};

/ {
	chosen {
		zephyr,console = &cdc_acm_uart0;
		zephyr,shell-uart = &cdc_acm_uart0;
	};

	pwmleds {
		pwm_led1: pwm_led_1 {
			pwms = <&pwm0 1 PWM_MSEC(20) PWM_POLARITY_INVERTED>;
		};
		pwm_led2: pwm_led_2 {
			pwms = <&pwm0 2 PWM_MSEC(20) PWM_POLARITY_INVERTED>;
		};
	};

	battery-divider {
		compatible = "voltage-divider";
		status = "okay";
		io-channels = <&adc 12>; // Measure VDDHDIV5
		output-ohms = <1>;
		full-ohms = <2>;
	};

	aliases {
		pwm-led1 = &pwm_led1;
		pwm-led2 = &pwm_led2;
	};
};

&i2c0 {
	compatible = "nordic,nrf-twim";
	zephyr,concat-buf-size = <1023>;
	zephyr,flash-buf-max-size = <1023>;
	clock-frequency = <I2C_BITRATE_FAST>;

	imu: imu@0 { // any address out of range (00, 7f, etc. will search all addresses and stored address first if available, specify an address here to search first otherwise
		compatible = "i2c-device";
		label = "imu";
		reg = <0>;
	};

	mag: mag@0 {
		compatible = "i2c-device";
		label = "mag";
		reg = <0>;
	};

};

arduino_spi: &spi3 {
	imu_spi: imu_spi@0 {
		compatible = "vnd,spi-device";
		spi-max-frequency = <DT_FREQ_M(32)>;
		label = "imu-spi";
		reg = <0>;
	};
};

zephyr_udc0: &usbd {
	cdc_acm_uart0: cdc_acm_uart0 {
		compatible = "zephyr,cdc-acm-uart";
	};
};
```

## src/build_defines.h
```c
/*
	SlimeVR Code is placed under the MIT license
	Copyright (c) 2025 SlimeVR Contributors

	Permission is hereby granted, free of charge, to any person obtaining a copy
	of this software and associated documentation files (the "Software"), to deal
	in the Software without restriction, including without limitation the rights
	to use, copy, modify, merge, publish, distribute, sublicense, and/or sell
	copies of the Software, and to permit persons to whom the Software is
	furnished to do so, subject to the following conditions:

	The above copyright notice and this permission notice shall be included in
	all copies or substantial portions of the Software.

	THE SOFTWARE IS PROVIDED "AS IS", WITHOUT WARRANTY OF ANY KIND, EXPRESS OR
	IMPLIED, INCLUDING BUT NOT LIMITED TO THE WARRANTIES OF MERCHANTABILITY,
	FITNESS FOR A PARTICULAR PURPOSE AND NONINFRINGEMENT. IN NO EVENT SHALL THE
	AUTHORS OR COPYRIGHT HOLDERS BE LIABLE FOR ANY CLAIM, DAMAGES OR OTHER
	LIABILITY, WHETHER IN AN ACTION OF CONTRACT, TORT OR OTHERWISE, ARISING FROM,
	OUT OF OR IN CONNECTION WITH THE SOFTWARE OR THE USE OR OTHER DEALINGS IN
	THE SOFTWARE.
*/
#include "sensor/sensors_enum.h"
#include "system/status.h"

#include "app_version.h"

#ifdef ARC8_BUILD_ID
#undef APP_BUILD_VERSION
#define APP_BUILD_VERSION ARC8_BUILD_ID
#endif

#ifdef CONFIG_NCS_APPLICATION_BOOT_BANNER_STRING
#define FW_NAME CONFIG_NCS_APPLICATION_BOOT_BANNER_STRING
#else
#define FW_NAME "SlimeNRF Tracker"
#endif
#define FW_VERSION_MAJOR APP_VERSION_MAJOR
#define FW_VERSION_MINOR APP_VERSION_MINOR
#define FW_VERSION_PATCH APP_PATCHLEVEL

// Build-time VCS metadata (injected by CMake). Keep safe fallbacks for non-git builds.
#ifndef FW_GIT_REPO_URL
#define FW_GIT_REPO_URL "unknown"
#endif
#ifndef FW_GIT_BRANCH
#define FW_GIT_BRANCH "unknown"
#endif
#ifndef FW_GIT_AUTHOR
#define FW_GIT_AUTHOR "unknown"
#endif

static uint8_t get_server_constant_imu_id(int id) __attribute__((unused));
static uint8_t get_server_constant_mag_id(int id) __attribute__((unused));
static uint8_t get_server_constant_tracker_status(int status) __attribute__((unused));

// constants from server, should include BoardType, MCUType, IMUType, MagType (not yet)
// https://github.com/SlimeVR/SlimeVR-Server/blob/main/server/core/src/main/java/dev/slimevr/tracking/trackers/udp/FirmwareConstants.kt
#define SVR_IMU_UNKNOWN 0
#define SVR_IMU_MPU9250 1
#define SVR_IMU_MPU6500 2
#define SVR_IMU_BNO080 3
#define SVR_IMU_BNO085 4
#define SVR_IMU_BNO055 5
#define SVR_IMU_MPU6050 6
#define SVR_IMU_BNO086 7
#define SVR_IMU_BMI160 8
#define SVR_IMU_ICM20948 9
#define SVR_IMU_ICM42688 10
#define SVR_IMU_BMI270 11
#define SVR_IMU_LSM6DS3TRC 12
#define SVR_IMU_LSM6DSV 13
#define SVR_IMU_LSM6DSO 14
#define SVR_IMU_LSM6DSR 15
#define SVR_IMU_ICM45686 16
#define SVR_IMU_ICM45605 17
#define SVR_IMU_ADC_RESISTANCE 18
#define SVR_IMU_DEV_RESERVED 250

#define SVR_BOARD_UNKNOWN 0
#define SVR_BOARD_SLIMEVR_LEGACY 1
#define SVR_BOARD_SLIMEVR_DEV 2
#define SVR_BOARD_NODEMCU 3
#define SVR_BOARD_CUSTOM 4
#define SVR_BOARD_WROOM32 5
#define SVR_BOARD_WEMOSD1MINI 6
#define SVR_BOARD_TTGO_TBASE 7
#define SVR_BOARD_ESP01 8
#define SVR_BOARD_SLIMEVR 9
#define SVR_BOARD_LOLIN_C3_MINI 10
#define SVR_BOARD_BEETLE32C32 11
#define SVR_BOARD_ES32C3DEVKITM1 12
#define SVR_BOARD_OWOTRACK 13
#define SVR_BOARD_WRANGLER 14
#define SVR_BOARD_MOCOPI 15
#define SVR_BOARD_WEMOSWROOM02 16
#define SVR_BOARD_XIAO_ESP32C3 17
#define SVR_BOARD_HARITORA 18
#define SVR_BOARD_ESP32C6DEVKITC1 19
#define SVR_BOARD_GLOVE_IMU_SLIMEVR_DEV 20
#define SVR_BOARD_DEV_RESERVED 250

#define SVR_MCU_UNKNOWN 0
#define SVR_MCU_ESP8266 1
#define SVR_MCU_ESP32 2
#define SVR_MCU_OWOTRACK_ANDROID 3
#define SVR_MCU_WRANGLER 4
#define SVR_MCU_OWOTRACK_IOS 5
#define SVR_MCU_ESP32_C3 6
#define SVR_MCU_MOCOPI 7
#define SVR_MCU_HARITORA 8
#define SVR_MCU_DEV_RESERVED 250

#define SVR_MAG_STATUS_NOT_SUPPORTED 0
#define SVR_MAG_STATUS_DISABLED 1
#define SVR_MAG_STATUS_ENABLED 2

// https://github.com/SlimeVR/SlimeVR-Server/blob/main/server/core/src/main/java/dev/slimevr/tracking/trackers/TrackerStatus.kt
#define SVR_STATUS_DISCONNECTED 0
#define SVR_STATUS_OK 1
#define SVR_STATUS_BUSY 2
#define SVR_STATUS_ERROR 3
#define SVR_STATUS_OCCLUDED 4
#define SVR_STATUS_TIMED_OUT 5

// does not exist in server enums yet
#if CONFIG_BOARD_NRF52DK
#define FW_BOARD 0
#elif CONFIG_BOARD_NRF54L15DK
#define FW_BOARD 0
#elif CONFIG_BOARD_NRF5340DK
#define FW_BOARD 0
#elif CONFIG_BOARD_NRF52840DK
#define FW_BOARD 0
#elif CONFIG_BOARD_NRF52840DONGLE
#define FW_BOARD 0
#elif CONFIG_BOARD_SLIMENRF_R1
#define FW_BOARD 0
#elif CONFIG_BOARD_SLIMENRF_R2
#define FW_BOARD 0
#elif CONFIG_BOARD_SLIMENRF_R3 || CONFIG_BOARD_SLIMENRF_R3_UF2
#define FW_BOARD 0
#elif CONFIG_BOARD_SLIMEVRMINI_P1_UF2
#define FW_BOARD 0
#elif CONFIG_BOARD_SLIMEVRMINI_P2_UF2
#define FW_BOARD 0
#elif CONFIG_BOARD_PROMICRO_UF2
#define FW_BOARD 0
#elif CONFIG_BOARD_XIAO_BLE
#define FW_BOARD 0
#else
#define FW_BOARD 0
#endif

// does not exist in server enums yet
#if CONFIG_SOC_NRF54L15
#define FW_MCU 0
#elif CONFIG_SOC_NRF54L10
#define FW_MCU 0
#elif CONFIG_SOC_NRF54L05
#define FW_MCU 0
#elif CONFIG_SOC_NRF5340
#define FW_MCU 0
#elif CONFIG_SOC_NRF52840
#define FW_MCU 0
#elif CONFIG_SOC_NRF52833
#define FW_MCU 0
#elif CONFIG_SOC_NRF52820
#define FW_MCU 0
#elif CONFIG_SOC_NRF52811
#define FW_MCU 0
#elif CONFIG_SOC_NRF52810
#define FW_MCU 0
#elif CONFIG_SOC_NRF52832
#define FW_MCU 0
#elif CONFIG_SOC_NRF52805
#define FW_MCU 0
#else
#define FW_MCU 0
#endif

static uint8_t get_server_constant_imu_id(int id)
{
	switch (id)
	{
	case IMU_BMI160:
		return SVR_IMU_BMI160;
	case IMU_BMI270:
		return SVR_IMU_BMI270;
	case IMU_BMI323:
		return 0;
	case IMU_MPU6050:
		return SVR_IMU_MPU6050;
	case IMU_MPU6500:
		return SVR_IMU_MPU6500;
	case IMU_MPU9250:
		return SVR_IMU_MPU9250;
	case IMU_ICM20948:
		return SVR_IMU_ICM20948;
	case IMU_ICM42688:
		return SVR_IMU_ICM42688;
	case IMU_ICM45686:
		return SVR_IMU_ICM45686;
	case IMU_ICM45688:
		return SVR_IMU_ICM45686; // compatible with driver, but not really
	case IMU_ISM330IS:
		return 0;
	case IMU_LSM6DS3:
		return 0;
	case IMU_LSM6DSM:
		return SVR_IMU_LSM6DS3TRC;
	case IMU_LSM6DSR:
		return SVR_IMU_LSM6DSR;
	case IMU_LSM6DSO:
		return SVR_IMU_LSM6DSO;
	case IMU_LSM6DST:
		return 0;
	case IMU_LSM6DSV:
		return SVR_IMU_LSM6DSV;
	case IMU_ISM330BX:
		return SVR_IMU_LSM6DSV; // not really
	default:
		return SVR_IMU_UNKNOWN;
	}
}

// does not exist in server enums yet
extern bool sensor_get_mag_enabled(void);
static uint8_t get_server_constant_mag_id(int id)
{
	if (id < 0)
		return SVR_MAG_STATUS_NOT_SUPPORTED;
	else
		return sensor_get_mag_enabled() ? SVR_MAG_STATUS_ENABLED : SVR_MAG_STATUS_DISABLED;
//	switch (id)
//	{
//	case MAG_HMC5883L:
//		return 0;
//	case MAG_QMC5883L:
//		return 0;
//	case MAG_AK8963:
//		return 0;
//	case MAG_AK09916:
//		return 0;
//	case MAG_AK09940:
//		return 0;
//	case MAG_BMM150:
//		return 0;
//	case MAG_BMM350:
//		return 0;
//	case MAG_IST8306:
//		return 0;
//	case MAG_IST8308:
//		return 0;
//	case MAG_IST8320:
//		return 0;
//	case MAG_IST8321:
//		return 0;
//	case MAG_LIS2MDL:
//		return 0;
//	case MAG_LIS3MDL:
//		return 0;
//	case MAG_MMC34160PJ:
//		return 0;
//	case MAG_MMC3630KJ:
//		return 0;
//	case MAG_MMC5633NJL:
//		return 0;
//	case MAG_MMC5616WA:
//		return 0;
//	case MAG_MMC5983MA:
//		return 0;
//	default:
//		return 0;
//	}
}

static uint8_t get_server_constant_tracker_status(int status)
{
	if (status & (SYS_STATUS_SENSOR_ERROR | SYS_STATUS_SYSTEM_ERROR))
		return SVR_STATUS_ERROR;
	else
		return SVR_STATUS_OK;
}

// https://stackoverflow.com/questions/11697820/how-to-use-date-and-time-predefined-macros-in-as-two-integers-then-stri
#define COMPUTE_BUILD_YEAR \
	( \
		(__DATE__[ 7] - '0') * 1000 + \
		(__DATE__[ 8] - '0') *  100 + \
		(__DATE__[ 9] - '0') *   10 + \
		(__DATE__[10] - '0') \
	)

#define COMPUTE_BUILD_DAY \
	( \
		((__DATE__[4] >= '0') ? (__DATE__[4] - '0') * 10 : 0) + \
		(__DATE__[5] - '0') \
	)

#define BUILD_MONTH_IS_JAN (__DATE__[0] == 'J' && __DATE__[1] == 'a' && __DATE__[2] == 'n')
#define BUILD_MONTH_IS_FEB (__DATE__[0] == 'F')
#define BUILD_MONTH_IS_MAR (__DATE__[0] == 'M' && __DATE__[1] == 'a' && __DATE__[2] == 'r')
#define BUILD_MONTH_IS_APR (__DATE__[0] == 'A' && __DATE__[1] == 'p')
#define BUILD_MONTH_IS_MAY (__DATE__[0] == 'M' && __DATE__[1] == 'a' && __DATE__[2] == 'y')
#define BUILD_MONTH_IS_JUN (__DATE__[0] == 'J' && __DATE__[1] == 'u' && __DATE__[2] == 'n')
#define BUILD_MONTH_IS_JUL (__DATE__[0] == 'J' && __DATE__[1] == 'u' && __DATE__[2] == 'l')
#define BUILD_MONTH_IS_AUG (__DATE__[0] == 'A' && __DATE__[1] == 'u')
#define BUILD_MONTH_IS_SEP (__DATE__[0] == 'S')
#define BUILD_MONTH_IS_OCT (__DATE__[0] == 'O')
#define BUILD_MONTH_IS_NOV (__DATE__[0] == 'N')
#define BUILD_MONTH_IS_DEC (__DATE__[0] == 'D')

#define COMPUTE_BUILD_MONTH \
	( \
		(BUILD_MONTH_IS_JAN) ?  1 : \
		(BUILD_MONTH_IS_FEB) ?  2 : \
		(BUILD_MONTH_IS_MAR) ?  3 : \
		(BUILD_MONTH_IS_APR) ?  4 : \
		(BUILD_MONTH_IS_MAY) ?  5 : \
		(BUILD_MONTH_IS_JUN) ?  6 : \
		(BUILD_MONTH_IS_JUL) ?  7 : \
		(BUILD_MONTH_IS_AUG) ?  8 : \
		(BUILD_MONTH_IS_SEP) ?  9 : \
		(BUILD_MONTH_IS_OCT) ? 10 : \
		(BUILD_MONTH_IS_NOV) ? 11 : \
		(BUILD_MONTH_IS_DEC) ? 12 : \
		/* error default */  99 \
	)

#define COMPUTE_BUILD_HOUR ((__TIME__[0] - '0') * 10 + __TIME__[1] - '0')
#define COMPUTE_BUILD_MIN  ((__TIME__[3] - '0') * 10 + __TIME__[4] - '0')
#define COMPUTE_BUILD_SEC  ((__TIME__[6] - '0') * 10 + __TIME__[7] - '0')

#define BUILD_DATE_IS_BAD (__DATE__[0] == '?')

#define BUILD_YEAR  ((BUILD_DATE_IS_BAD) ? 99 : COMPUTE_BUILD_YEAR)
#define BUILD_MONTH ((BUILD_DATE_IS_BAD) ? 99 : COMPUTE_BUILD_MONTH)
#define BUILD_DAY   ((BUILD_DATE_IS_BAD) ? 99 : COMPUTE_BUILD_DAY)

#define BUILD_TIME_IS_BAD (__TIME__[0] == '?')

#define BUILD_HOUR  ((BUILD_TIME_IS_BAD) ? 99 :  COMPUTE_BUILD_HOUR)
#define BUILD_MIN   ((BUILD_TIME_IS_BAD) ? 99 :  COMPUTE_BUILD_MIN)
#define BUILD_SEC   ((BUILD_TIME_IS_BAD) ? 99 :  COMPUTE_BUILD_SEC)

#define BUILD_TIMESTAMP (((((((BUILD_YEAR - 2020) & 127) * 12 + (BUILD_MONTH & 15)) * 31 + (BUILD_DAY & 31)) * 24 + (BUILD_HOUR & 24)) * 60 + (BUILD_MIN & 60)) * 60 + (BUILD_SEC & 60))

#define TOSTRING(x) STRINGIFY(x)

#define FW_STRING FW_NAME " " APP_VERSION_EXTENDED_STRING " "\
	"(Commit " TOSTRING(APP_BUILD_VERSION) ", Build %d-%02d-%02d %02d:%02d:%02d)\n",\
	BUILD_YEAR, BUILD_MONTH, BUILD_DAY, BUILD_HOUR, BUILD_MIN, BUILD_SEC
```

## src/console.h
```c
#ifndef SLIMENRF_CONSOLE
#define SLIMENRF_CONSOLE

void console_thread_create(void);
void console_thread_abort(void);

// Command API for remote execution
void cmd_sens_set(float x, float y, float z);
void cmd_sens_reset(void);
void cmd_reset_zro(void);
void cmd_reset_acc(void);
void cmd_reset_bat(void);
void cmd_reset_tcal(void);
void cmd_fusion_reset(void);
void cmd_ping_start(void);
void cmd_shutdown(void);

#endif
```
